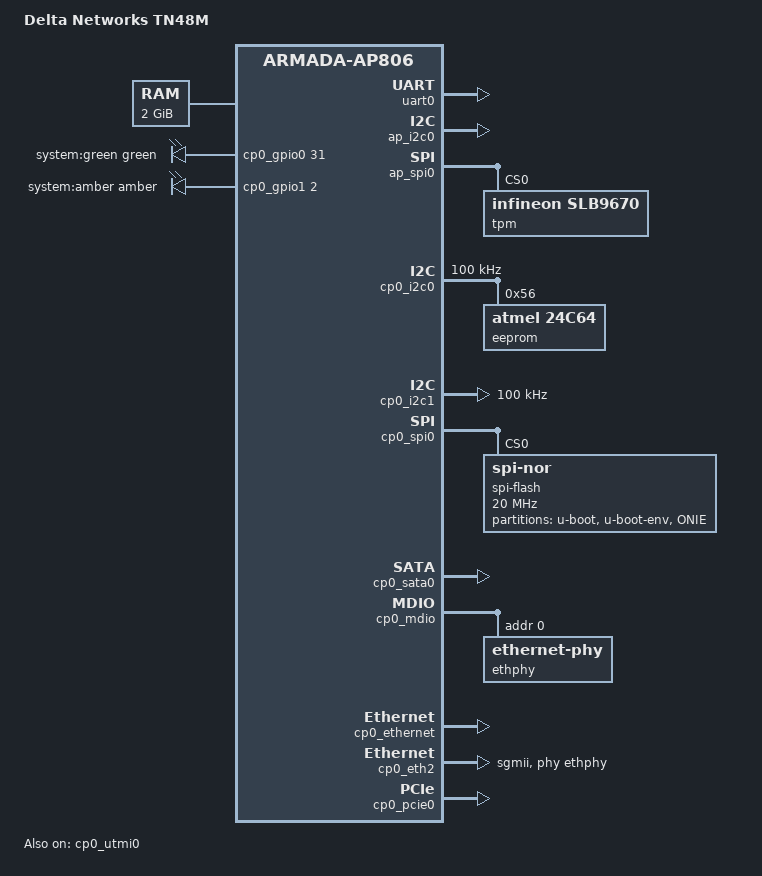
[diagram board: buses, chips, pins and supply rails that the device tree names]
// SPDX-License-Identifier: GPL-2.0-or-later
/*
 * Copyright (C) 2016- 2021 Marvell International Ltd.
 * Copyright (C) 2021 Sartura Ltd.
 */

/*
 * Device Tree file for Delta Networks TN48M
 * Boot device: SPI NOR, 0x32 (SW3)
 */

#include <dt-bindings/gpio/gpio.h>
#include <dt-bindings/leds/common.h>
#include "armada-7040.dtsi"

/ {
	model = "Delta Networks TN48M";
	compatible = "delta,tn48m", "marvell,armada7040",
		     "marvell,armada-ap806-quad", "marvell,armada-ap806";

	chosen {
		stdout-path = "serial0:115200n8";
	};

	aliases {
		i2c0 = &cp0_i2c0;
		i2c1 = &cp0_i2c1;
		spi0 = &cp0_spi0;
		spi1 = &ap_spi0;
	};

	memory@00000000 {
		device_type = "memory";
		reg = <0x0 0x0 0x0 0x80000000>; /* Needs to be updated to 8GB */
	};

	leds {
		compatible = "gpio-leds";

		/*
		 * LED-s are dual color in a single package,
		 * so the pin for the disabled color must be
		 * used to provide the ground.
		 */
		sys-green {
			gpios = <&cp0_gpio0 31 GPIO_ACTIVE_HIGH>;
			color = <LED_COLOR_ID_GREEN>;
			label = "system:green";
			default-state = "on";
		};

		sys-amber {
			gpios = <&cp0_gpio1 2 GPIO_ACTIVE_HIGH>;
			color = <LED_COLOR_ID_AMBER>;
			label = "system:amber";
			default-state = "off";
		};
	};
};

&ap_pinctl {
	   /* MPP Bus:
	    * SPI  [0-3]
	    * I2C  [4-5]
	    * UART [11,19]
	    */
		  /* 0 1 2 3 4 5 6 7 8 9 */
	pin-func = < 3 3 3 3 3 3 0 0 0 0
		     0 3 0 0 0 0 0 0 0 3 >;

	ap_spi_pins: ap-spi-pins {
		marvell,pins = < 0 1 2 3 >;
		marvell,function = <3>;
	};
};

&uart0 {
	status = "okay";
};

&ap_i2c0 {
	status = "okay";

	pinctrl-names = "default";
	pinctrl-0 = <&ap_i2c0_pins>;
};

&ap_spi0 {
	status = "okay";

	pinctrl-names = "default";
	pinctrl-0 = <&cp0_i2c0_pins>;

	tpm@0 {
		compatible = "infineon,slb9670", "tcg,tpm_tis-spi";
		reg = <0>;
	};
};

&cp0_i2c0 {
	status = "okay";

	pinctrl-names = "default";
	pinctrl-0 = <&cp0_i2c0_pins>;
	clock-frequency = <100000>;

	eeprom@56 {
		compatible = "atmel,24c64";
		reg = <0x56>;
	};
};

&cp0_i2c1 {
	status = "okay";

	pinctrl-names = "default";
	pinctrl-0 = <&cp0_i2c1_pins>;
	clock-frequency = <100000>;
};

&cp0_pinctl {
		/* MPP Bus:
		 * SMI           [0-1]
		 * SATA0_PRESENT [29]
		 * I2C0          [37-38]
		 * I2C1          [35-36]
		 * SPI           [56-59]
		 */
		/*   0   1   2   3   4   5   6   7   8   9 */
	pin-func = < 0xA 0xA 0   0   0   0   0   0   0   0
		     0   0   0   0   0   0   0   0   0   0
		     0   0   0   0   0   0   0   0   0   9
		     0   0   0   0   0   2   2   2   2   0
		     0   0   0   0   0   0   0   0   0   0
		     0   0   0   0   0   0   6   6   6   6
		     0   0   0 >;

	cp0_smi_pins: cp0-smi-pins {
		marvell,pins = < 0 1 >;
		marvell,function = <10>;
	};
};

&cp0_spi0_pins {
	marvell,pins = < 56 57 58 59 >;
	marvell,function = <6>;
};

&cp0_spi0 {
	status = "okay";

	pinctrl-names = "default";
	pinctrl-0 = <&cp0_spi0_pins>;

	spi-flash@0 {
		#address-cells = <1>;
		#size-cells = <1>;
		compatible = "jedec,spi-nor";
		reg = <0>;
		spi-max-frequency = <20000000>;

		partitions {
			compatible = "fixed-partitions";
			#address-cells = <1>;
			#size-cells = <1>;

			partition@0 {
				label = "u-boot";
				reg = <0x0 0x3f0000>;
				read-only;
			};

			partition@3f0000 {
				label = "u-boot-env";
				reg = <0x3f0000 0x010000>;
			};

			partition@400000 {
				label = "ONIE";
				reg = <0x400000 0xc00000>;
			};
		};
	};
};

&cp0_sata0 {
	status = "okay";
};

&cp0_utmi0 {
	status = "okay";
};

&cp0_comphy {
	/*
	 * CP0 Serdes Configuration:
	 * Lane 0: PCIE0
	 * Lane 1: SATA0
	 * Lane 2: HS_SGMII0
	 * Lane 3: SGMII1
	 * Lane 4: NC
	 * Lane 5: SGMII2
	 */
	phy0 {
		phy-type = <COMPHY_TYPE_PEX0>;
		phy-speed = <COMPHY_SPEED_5G>;
	};

	phy1 {
		phy-type = <COMPHY_TYPE_SATA0>;
		phy-speed = <COMPHY_SPEED_6G>;
	};

	phy2 {
		phy-type = <COMPHY_TYPE_SGMII0>;
		phy-speed = <COMPHY_SPEED_3_125G>;
	};

	phy3 {
		phy-type = <COMPHY_TYPE_SGMII1>;
		phy-speed = <COMPHY_SPEED_1_25G>;
	};

	phy4 {
		phy-type = <COMPHY_TYPE_UNCONNECTED>;
	};

	phy5 {
		phy-type = <COMPHY_TYPE_SGMII2>;
		phy-speed = <COMPHY_SPEED_1_25G>;
	};
};

&cp0_mdio {
	status = "okay";

	pinctrl-names = "default";
	pinctrl-0 = <&cp0_smi_pins>;

	ethphy: ethernet-phy@0 {
		reg = <0>;
	};
};

&cp0_ethernet {
	status = "okay";
};

&cp0_eth0 {
	status = "disabled";
	phy-mode = "2500base-x";

	fixed-link {
	      speed = <2500>;
	      full-duplex;
	};
};

&cp0_eth1 {
	status = "disabled";
	phy-mode = "sgmii";

	fixed-link {
	      speed = <1000>;
	      full-duplex;
	};
};

&cp0_eth2 {
	status = "okay";
	phy = <&ethphy>;
	phy-mode = "sgmii";
};

&cp0_pcie0 {
	status = "okay";
	ranges = <0x81000000 0x0 0xf9020000 0x0 0xf9020000 0x0 0x10000
        	  0x82000000 0x0 0xc0000000 0x0 0xc0000000 0x0 0x30000000>;
};
